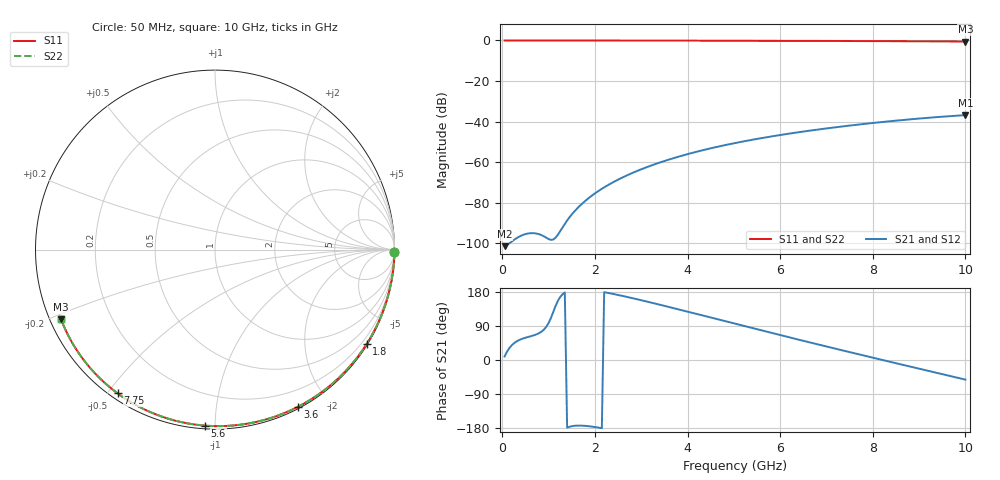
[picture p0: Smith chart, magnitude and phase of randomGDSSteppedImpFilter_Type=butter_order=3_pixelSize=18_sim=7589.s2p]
! freq	dB(S11)	phase(S11)	dB(S12)	phase(S12)
!  dB(S21)	phase(S21)	dB(S22)	phase(S22)
!S-par simulation data
#  GHz  S  DB  R 50
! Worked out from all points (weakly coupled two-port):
!   200 points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, 50 MHz to 10 GHz, reference 50 ohm
!   highest |S21| = -36.79 dB at 10 GHz (marker M1); lowest = -101.3 dB at 50 MHz (marker M2)
!   lowest |S11| = -0.5 dB at 10 GHz (marker M3), VSWR 33.29, Z = 1.57 - j10.8 ohm
!   |S11| at or under -10 dB: nowhere
!   |S22| runs from -0.5 to 0.0 dB; largest |S21 - S12| = 0
!   S11 on the Smith chart (normalised r, x): 50 MHz: open; 1.8 GHz: 0.03, -3.50; 3.6 GHz: 0.02, -1.66; 5.6 GHz: 0.02, -0.95; 7.75 GHz: 0.02, -0.53; 10 GHz: 0.03, -0.22
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0.05  -0.00 -0.9  -101.33 9.5  -101.33 9.5  -0.00 -0.9
0.45  -0.01 -8.1  -95.76 56.8  -95.76 56.8  -0.01 -8.1
0.9  -0.02 -16.1  -96.51 80.4  -96.51 80.4  -0.02 -16.1
1.3  -0.03 -23.2  -92.07 173.2  -92.07 173.2  -0.03 -23.2
1.75  -0.04 -31.1  -79.84 -173.5  -79.84 -173.5  -0.04 -31.1
1.8  -0.04 -31.9  -78.86 -173.9  -78.86 -173.9  -0.04 -31.9
1.95  -0.04 -34.5  -76.17 -176.0  -76.17 -176.0  -0.04 -34.5
2.1  -0.05 -37.1  -73.80 -178.8  -73.80 -178.8  -0.05 -37.1
2.3  -0.05 -40.5  -71.01 176.7  -71.01 176.7  -0.05 -40.5
2.5  -0.06 -43.9  -68.56 171.6  -68.56 171.6  -0.06 -43.9
2.9  -0.07 -50.7  -64.38 160.6  -64.38 160.6  -0.07 -50.7
3.4  -0.08 -58.9  -60.13 145.9  -60.13 145.9  -0.08 -58.9
3.6  -0.08 -62.2  -58.65 139.9  -58.65 139.9  -0.08 -62.2
4.3  -0.10 -73.3  -54.22 118.3  -54.22 118.3  -0.10 -73.3
5.05  -0.13 -84.9  -50.42 95.0  -50.42 95.0  -0.13 -84.9
5.6  -0.15 -93.2  -48.09 78.0  -48.09 78.0  -0.15 -93.2
6.15  -0.18 -101.3  -46.05 61.2  -46.05 61.2  -0.18 -101.3
6.7  -0.21 -109.3  -44.24 44.6  -44.24 44.6  -0.21 -109.3
7.75  -0.29 -124.1  -41.28 13.5  -41.28 13.5  -0.29 -124.1
8.35  -0.34 -132.5  -39.84 -4.1  -39.84 -4.1  -0.34 -132.5
9.2  -0.43 -144.3  -38.09 -28.7  -38.09 -28.7  -0.43 -144.3
10  -0.52 -155.6  -36.79 -51.7  -36.79 -51.7  -0.52 -155.6
